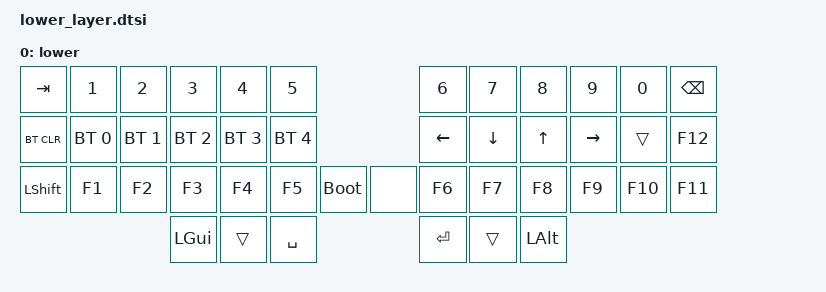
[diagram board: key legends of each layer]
/ {
    keymap {
        compatible = "zmk,keymap";

        lower_layer {
            display-name = "lower";

// ------------------------------------------------------------------------------------------------
// |  TAB |  1  |  2  |  3  |  4  |  5  |                    |  6  |  7  |  8  |  9  |  0  | BKSP |
// | BTCLR| BT1 | BT2 | BT3 | BT4 | BT5 |                    | LFT | DWN |  UP | RGT |     |  F12 |
// | SHFT | F1  | F2  | F3  | F4  | F5  |  boot  |  |        |  F6 | F7  | F8  | F9  | F10 |  F11 |
//                    | GUI |     | SPC |                    | ENT |     | ALT |
            bindings = <
&kp TAB    &kp N1       &kp N2       &kp N3       &kp N4       &kp N5                         &kp N6   &kp N7   &kp N8 &kp N9    &kp N0  &kp BSPC
&bt BT_CLR &bt BT_SEL 0 &bt BT_SEL 1 &bt BT_SEL 2 &bt BT_SEL 3 &bt BT_SEL 4                   &kp LEFT &kp DOWN &kp UP &kp RIGHT &trans  &kp F12
&kp LSHFT  &kp F1       &kp F2       &kp F3       &kp F4       &kp F5       &bootloader &none &kp F6   &kp F7   &kp F8 &kp F9    &kp F10 &kp F11
                                     &kp LGUI     &trans       &kp SPACE                      &kp RET  &trans   &kp LALT
            >;
        };
    };
};
